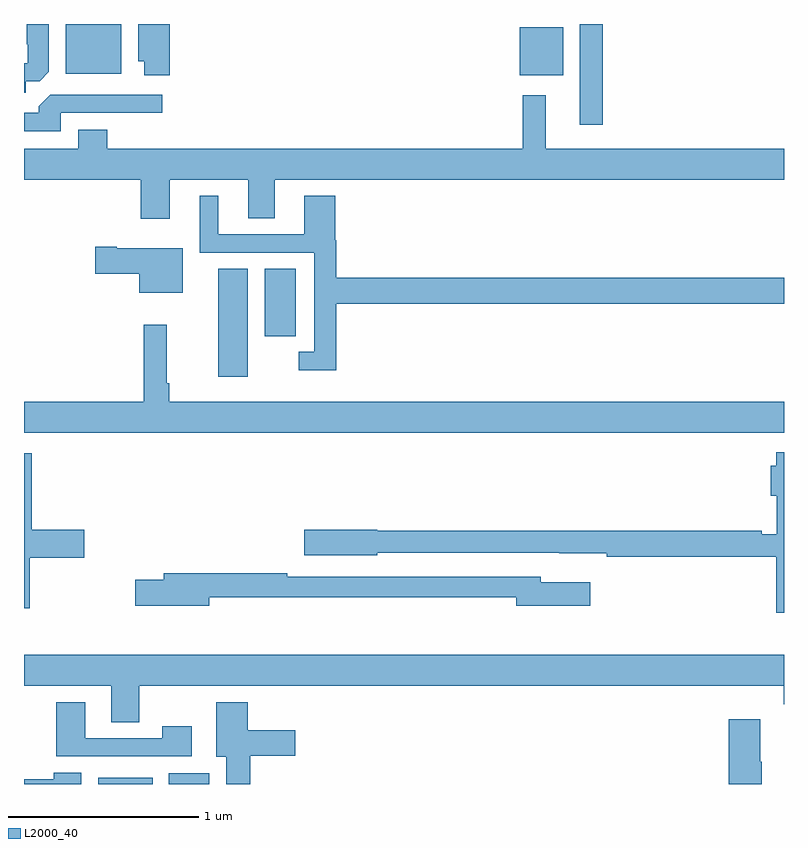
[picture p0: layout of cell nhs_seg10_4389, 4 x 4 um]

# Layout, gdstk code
import gdstk
lib = gdstk.Library(unit=1e-6, precision=1e-09)
def R(c, l, rs):  # rectangles x0, y0, x1, y1
    for r in rs: c.add(gdstk.rectangle(r[:2], r[2:], *l))
def P(c, l, *ps):  # polygons
    for p in ps: c.add(gdstk.Polygon(p, *l))
L2000_40 = (2000, 40)

nhs_seg10_4389 = lib.new_cell('nhs_seg10_4389')
R(nhs_seg10_4389, L2000_40, [(359.39,1266.5,359.677,1266.532), (359.762,1266.5,359.974,1266.556), (360.023,1268.643,360.178,1269.212), (360.266,1268.856,360.43,1269.212), (361.925,1269.969,362.047,1270.5), (361.61,1270.229,361.837,1270.483), (359.219,1270.238,359.512,1270.5)])
P(nhs_seg10_4389, L2000_40, [(359.768,1270.5),(359.6,1270.5),(359.6,1270.304),(359.633,1270.304),(359.633,1270.23),(359.768,1270.23)],
  [(359.008,1270.2),(359.082,1270.2),(359.131,1270.249),(359.131,1270.5),(359.015,1270.5),(359.015,1270.393),(359.019,1270.393),(359.019,1270.293),(359,1270.293),(359,1270.139),(359.008,1270.139)],
  [(359.193,1270.032),(359.728,1270.032),(359.728,1270.128),(359.139,1270.128),(359.078,1270.066),(359.078,1270.032),(359,1270.032),(359,1269.936),(359.193,1269.936)],
  [(359.767,1269.68),(360.179,1269.68),(360.179,1269.478),(360.319,1269.478),(360.319,1269.68),(363,1269.68),(363,1269.844),(361.747,1269.844),(361.747,1270.126),(361.626,1270.126),(361.626,1269.844),(359.438,1269.844),(359.438,1269.943),(359.285,1269.943),(359.285,1269.844),(359,1269.844),(359,1269.68),(359.615,1269.68),(359.615,1269.474),(359.767,1269.474)],
  [(360.644,1269.028),(363,1269.028),(363,1269.164),(360.644,1269.164),(360.644,1269.362),(360.638,1269.362),(360.638,1269.595),(360.476,1269.595),(360.476,1269.393),(360.022,1269.393),(360.022,1269.595),(359.924,1269.595),(359.924,1269.297),(360.528,1269.297),(360.528,1268.775),(360.447,1268.775),(360.447,1268.678),(360.644,1268.678)],
  [(359.836,1269.319),(359.488,1269.319),(359.488,1269.327),(359.376,1269.327),(359.376,1269.185),(359.606,1269.185),(359.606,1269.086),(359.836,1269.086)],
  [(363,1268.512),(359.765,1268.512),(359.765,1268.608),(359.75,1268.608),(359.75,1268.917),(359.629,1268.917),(359.629,1268.512),(359,1268.512),(359,1268.348),(363,1268.348)],
  [(363,1268.245),(362.959,1268.245),(362.959,1268.176),(362.93,1268.176),(362.93,1268.018),(362.963,1268.018),(362.963,1267.814),(362.882,1267.814),(362.882,1267.832),(360.858,1267.832),(360.858,1267.838),(360.474,1267.838),(360.474,1267.703),(360.858,1267.703),(360.858,1267.716),(361.816,1267.716),(361.816,1267.715),(362.068,1267.715),(362.068,1267.696),(362.959,1267.696),(362.959,1267.401),(363,1267.401)],
  [(359.029,1267.691),(359.317,1267.691),(359.317,1267.838),(359.042,1267.838),(359.042,1268.242),(359,1268.242),(359,1267.424),(359.029,1267.424)],
  [(359.974,1267.482),(361.592,1267.482),(361.592,1267.439),(361.981,1267.439),(361.981,1267.561),(361.72,1267.561),(361.72,1267.59),(360.386,1267.59),(360.386,1267.61),(359.735,1267.61),(359.735,1267.574),(359.586,1267.574),(359.586,1267.439),(359.974,1267.439)],
  [(359.607,1267.016),(362.999,1267.016),(362.999,1266.92),(363,1266.92),(363,1267.18),(359,1267.18),(359,1267.016),(359.459,1267.016),(359.459,1266.826),(359.607,1266.826)],
  [(359.884,1266.805),(359.728,1266.805),(359.728,1266.741),(359.323,1266.741),(359.323,1266.931),(359.171,1266.931),(359.171,1266.645),(359.884,1266.645)],
  [(360.191,1266.65),(360.427,1266.65),(360.427,1266.784),(360.178,1266.784),(360.178,1266.931),(360.011,1266.931),(360.011,1266.644),(360.065,1266.644),(360.065,1266.5),(360.191,1266.5)],
  [(362.883,1266.617),(362.875,1266.617),(362.875,1266.841),(362.708,1266.841),(362.708,1266.5),(362.883,1266.5)],
  [(359.302,1266.56),(359.156,1266.56),(359.156,1266.524),(359,1266.524),(359,1266.5),(359.302,1266.5)])

lib.write_gds('nhs_seg10_4389.gds')
